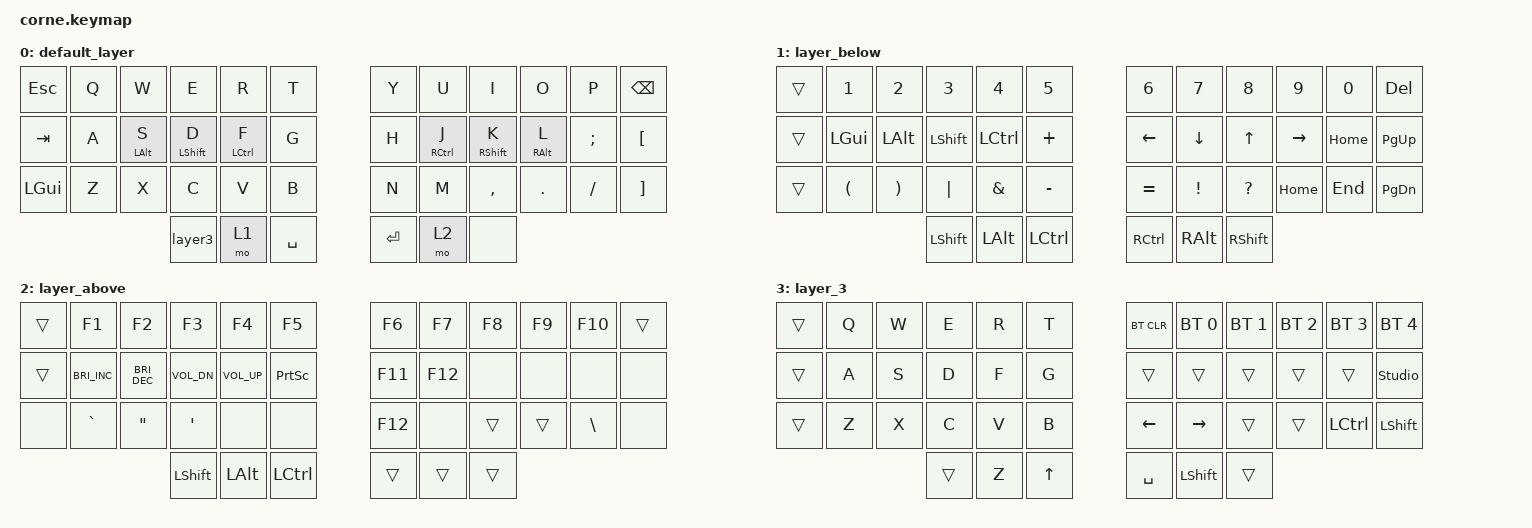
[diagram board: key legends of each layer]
/*
 * Copyright (c) 2020 The ZMK Contributors
 *
 * SPDX-License-Identifier: MIT
 */

#include <behaviors.dtsi>
#include <dt-bindings/zmk/bt.h>
#include <dt-bindings/zmk/keys.h>

/ {
    behaviors {
        hmr: hmr {
            compatible = "zmk,behavior-hold-tap";
            label = "HMR";
            bindings = <&kp>, <&kp>;

            #binding-cells = <2>;
            tapping-term-ms = <200>;
            quick-tap-ms = <175>;
            flavor = "tap-preferred";
            hold-trigger-key-positions = <0 1 2 3 4 5 12 13 14 15 16 17 24 25 26 27 28 29 36 37 38>;
            hold-trigger-on-release;
        };

        hml: hml {
            compatible = "zmk,behavior-hold-tap";
            label = "HML";
            bindings = <&kp>, <&kp>;

            #binding-cells = <2>;
            tapping-term-ms = <200>;
            quick-tap-ms = <175>;
            flavor = "tap-preferred";
            hold-trigger-key-positions = <6 7 9 10 11 18 19 20 21 22 23 30 31 32 33 34 35 39 40 41 8>;
            hold-trigger-on-release;
        };

        layer3: layer3 {
            compatible = "zmk,behavior-tap-dance";
            label = "LAYER3";
            #binding-cells = <0>;
            bindings = <&to 0>, <&to 3>;
        };
    };

    combos {
        compatible = "zmk,combos";

        ch_lang_combo {
            bindings = <&ch_lang>;
            key-positions = <36 41>;
        };
    };

    macros {
        ch_lang: ch_lang {
            compatible = "zmk,behavior-macro";
            #binding-cells = <0>;
            bindings = <&kp LG(SPACE)>;
            label = "CH_LANG";
        };
    };

    keymap {
        compatible = "zmk,keymap";

        default_layer {
            // -----------------------------------------------------------------------------------------
            // | TAB  |  Q  |  W  |  E  |  R  |    T    |   |  Y  |  U   |  I  |  O  |  P  | ESC |
            // | CTRL |  A  |  S  |  D  |  F  |    G    |   |  H  |  J   |  K  |  L  |  ;  |  LWR/'   |
            // | SHFT |  Z  |  X  |  C  |  V  |    B    |   |  N  |  M   |  ,  |  .  |  /  | SHFT |
            //                    | GUI | LWR | ALT/ENT |   | HYPER/SPC | BKSP  | RSE |

            bindings = <
&kp ESCAPE    &kp Q  &kp W            &kp E              &kp R                &kp T        &kp Y      &kp U                 &kp I               &kp O             &kp P     &kp BACKSPACE
&kp TAB       &kp A  &hmr LEFT_ALT S  &hmr LEFT_SHIFT D  &hmr LEFT_CONTROL F  &kp G        &kp H      &hml RIGHT_CONTROL J  &hml RIGHT_SHIFT K  &hml RIGHT_ALT L  &kp SEMI  &kp LEFT_BRACKET
&kp LEFT_GUI  &kp Z  &kp X            &kp C              &kp V                &kp B        &kp N      &kp M                 &kp COMMA           &kp DOT           &kp FSLH  &kp RIGHT_BRACKET
                                      &layer3            &mo 1                &kp SPACE    &kp ENTER  &mo 2                 &none
            >;
        };

        layer_below {
            // -----------------------------------------------------------------------------------------
            // |      |  !  |  @  |  #  |  $  |    %     |   |  ^  |  &  |  *  |  (  |  )  |   \   |
            // |      |  1  |  2  |  3  |  4  |    5     |   |  -  |  =  |  `  |  [  |  ]  |  "|"  |
            // | SHFT |  6  |  7  |  8  |  9  |    0     |   |  _  |  +  |  ~  |  {  |  }  | RSHFT |
            //                     | GUI |     | ALT/ENT |   | HYPER/SPACE | BKSP |    |

            bindings = <
&trans  &kp NUMBER_1          &kp NUMBER_2           &kp NUMBER_3    &kp NUMBER_4      &kp N5              &kp NUMBER_6  &kp N7         &kp N8           &kp N9     &kp N0    &kp DELETE
&trans  &kp LEFT_GUI          &kp LEFT_ALT           &kp LEFT_SHIFT  &kp LEFT_CONTROL  &kp PLUS            &kp LEFT      &kp DOWN       &kp UP_ARROW     &kp RIGHT  &kp HOME  &kp PAGE_UP
&trans  &kp LEFT_PARENTHESIS  &kp RIGHT_PARENTHESIS  &kp PIPE        &kp AMPS          &kp MINUS           &kp EQUAL     &kp EXCL       &kp QUESTION     &kp HOME   &kp END   &kp PAGE_DOWN
                                                     &kp LEFT_SHIFT  &kp LEFT_ALT      &kp LEFT_CONTROL    &kp RCTRL     &kp RIGHT_ALT  &kp RIGHT_SHIFT
            >;
        };

        layer_above {
            // -----------------------------------------------------------------------------------------
            // |       |  F1  |  F2  |  F3  |  F4  |  F5 |            |  F6  |  F7  |  F8  |  F9  |  F10  |   |
            // |       | Prev | Next | Vol - | Vol + | Play/Pause |   |      | LFT | DWN |  UP | RGT |     |     |
            // | BTCLR | BT1 | BT2 | BT3 | BT4 | BT5 |   |            |     |     |     |     |     |     |
            //                    |     |     |    |                  |     |     |     |

            bindings = <
&trans  &kp F1                &kp F2                &kp F3            &kp F4        &kp F5              &kp F6   &kp F7   &kp F8  &kp F9  &kp F10        &trans
&trans  &kp C_BRIGHTNESS_INC  &kp C_BRIGHTNESS_DEC  &kp C_VOL_DN      &kp C_VOL_UP  &kp PRINTSCREEN     &kp F11  &kp F12  &none   &none   &none          &none
&none   &kp GRAVE             &kp DOUBLE_QUOTES     &kp SINGLE_QUOTE  &none         &none               &kp F12  &none    &trans  &trans  &kp BACKSLASH  &none
                                                    &kp LEFT_SHIFT    &kp LEFT_ALT  &kp LEFT_CONTROL    &trans   &trans   &trans
            >;
        };

        layer_3 {
            bindings = <
&trans  &kp Q  &kp W  &kp E   &kp R  &kp T           &bt BT_CLR      &bt BT_SEL 0    &bt BT_SEL 1  &bt BT_SEL 2  &bt BT_SEL 3      &bt BT_SEL 4
&trans  &kp A  &kp S  &kp D   &kp F  &kp G           &trans          &trans          &trans        &trans        &trans            &studio_unlock
&trans  &kp Z  &kp X  &kp C   &kp V  &kp B           &kp LEFT_ARROW  &kp RIGHT       &trans        &trans        &kp LEFT_CONTROL  &kp LEFT_SHIFT
                      &trans  &kp Z  &kp UP_ARROW    &kp SPACE       &kp LEFT_SHIFT  &trans
            >;
        };
    };
};
